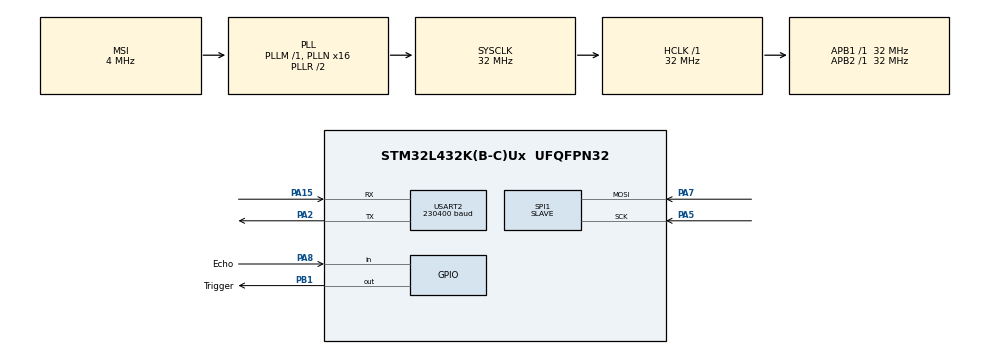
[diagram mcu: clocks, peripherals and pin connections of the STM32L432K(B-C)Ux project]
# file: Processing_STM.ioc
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Mcu.Family=STM32L4
Mcu.Name=STM32L432K(B-C)Ux
Mcu.Package=UFQFPN32
NVIC.PriorityGroup=NVIC_PRIORITYGROUP_4
PA15\ (JTDI).Mode=Asynchronous
PA15\ (JTDI).Signal=USART2_RX
PA2.Mode=Asynchronous
PA2.Signal=USART2_TX
PA5.Mode=RX_Only_Simplex_Unidirect_Slave
PA5.Signal=SPI1_SCK
PA7.Mode=RX_Only_Simplex_Unidirect_Slave
PA7.Signal=SPI1_MOSI
PA8.GPIO_Label=Echo
PA8.Signal=GPIO_Input
PB1.GPIO_Label=Trigger
PB1.Signal=GPIO_Output
ProjectManager.HeapSize=0x200
ProjectManager.StackSize=0x400
ProjectManager.TargetToolchain=STM32CubeIDE
RCC.ADCFreq_Value=32000000
RCC.AHBFreq_Value=32000000
RCC.APB1Freq_Value=32000000
RCC.APB1TimFreq_Value=32000000
RCC.APB2Freq_Value=32000000
RCC.APB2TimFreq_Value=32000000
RCC.CortexFreq_Value=32000000
RCC.HCLKFreq_Value=32000000
RCC.HSE_VALUE=8000000
RCC.HSI48_VALUE=48000000
RCC.HSI_VALUE=16000000
RCC.LSE_VALUE=32768
RCC.MSI_VALUE=4000000
RCC.PLLN=16
RCC.PLLSAI1N=16
RCC.SYSCLKFreq_VALUE=32000000
RCC.SYSCLKSource=RCC_SYSCLKSOURCE_PLLCLK
RCC.USBFreq_Value=32000000
RCC.VCOOutputFreq_Value=64000000
SPI1.DataSize=SPI_DATASIZE_12BIT
SPI1.Direction=SPI_DIRECTION_2LINES_RXONLY
SPI1.Mode=SPI_MODE_SLAVE
SPI1.VirtualType=VM_SLAVE
USART2.BaudRate=230400
USART2.VirtualMode-Asynchronous=VM_ASYNC
VP_TIM16_VS_ClockSourceINT.Mode=Enable_Timer
board=custom

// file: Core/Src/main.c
/* USER CODE BEGIN Header */
/**
  ******************************************************************************
  * @file           : main.c
  * @brief          : Main program body
  ******************************************************************************
  * @attention
  *
  * Copyright (c) 2026 STMicroelectronics.
  * All rights reserved.
  *
  * This software is licensed under terms that can be found in the LICENSE file
  * in the root directory of this software component.
  * If no LICENSE file comes with this software, it is provided AS-IS.
  *
  ******************************************************************************
  */
/* USER CODE END Header */
#include "main.h"

/* USER CODE BEGIN Includes */
#include <stdio.h>
/* USER CODE END Includes */

/* USER CODE BEGIN PD */
#define ECHO_TIMEOUT_US 8000	// max wait time 8000 microsecond
#define DISTANCE_THRESHOLD_CM 10	// 10 CM ultrasonic sensor threshold
#define STOP_DELAY_MS 1000	//	"short interval of time" which we put 1 second
#define OUTLIER_THRESHOLD 600	// range is 0-4095, 600 reject large sudden spike
/* USER CODE END PD */

SPI_HandleTypeDef hspi1;

TIM_HandleTypeDef htim16;

UART_HandleTypeDef huart2;

/* USER CODE BEGIN PV */
uint16_t rawSample = 0;	// new sample
uint16_t previousSample = 0;	// previous sample for filter
uint16_t filteredSample = 0;	// cleaned sample

uint8_t mode = 'I';	// 'I' = Idle, 'M' = Manual, 'D' = Distance Trigger
uint8_t command = 0;
uint8_t recording = 0;

uint32_t lastDetectedTime = 0;
uint32_t lastDistanceCheck = 0;

int distance_cm = -1;	// haven't measure yet

static uint8_t haveFirst = 0;	// task 4 packing (0 = no first sample stored)
static uint16_t firstSample = 0;	// store first 12 bit sample until next sample arrive
/* USER CODE END PV */

void SystemClock_Config(void);
static void MX_GPIO_Init(void);
static void MX_SPI1_Init(void);
static void MX_USART2_UART_Init(void);
static void MX_TIM16_Init(void);
/* USER CODE BEGIN PFP */
void delay_us(uint16_t us);
int get_distance_cm(void);
void send_audio_sample(void);
/* USER CODE END PFP */

int main(void)
{

  /* MCU Configuration--------------------------------------------------------*/

  /* Reset of all peripherals, Initializes the Flash interface and the Systick. */
  HAL_Init();

  /* Configure the system clock */
  SystemClock_Config();

  /* Initialize all configured peripherals */
  MX_GPIO_Init();
  MX_SPI1_Init();
  MX_USART2_UART_Init();
  MX_TIM16_Init();
  /* USER CODE BEGIN 2 */
  HAL_TIM_Base_Start(&htim16);
  __HAL_SPI_ENABLE(&hspi1);
  /* USER CODE END 2 */

  /* Infinite loop */
  /* USER CODE BEGIN WHILE */
  while (1)
  {
	  if (HAL_UART_Receive(&huart2, &command, 1, 0) == HAL_OK)	// try to receive command from Python
	  {
		  if (command == 'M')
		  {
			  mode = 'M';
			  recording = 1;
			  rawSample = 2048;	// reset filter midpoint for 12 bit
			  filteredSample = 2048;
			  previousSample = 2048;
			  haveFirst = 0;	// reset packed byte state
		  }
		  else if (command == 'D')
		  {
			  mode = 'D';
			  recording = 0;
			  lastDetectedTime = 0;
 			  lastDistanceCheck = 0;
 			  rawSample = 2048;	// reset filter midpoint for 12 bit
			  filteredSample = 2048;
			  previousSample = 2048;
			  haveFirst = 0;	// reset packed byte state
		  }
		  else if (command == 'I')
		  {
			  mode = 'I';
			  recording = 0;
			  rawSample = 2048;
			  filteredSample = 2048;
			  previousSample = 2048;
			  haveFirst = 0;
		  }
	  }
	  if (mode == 'M')
	  {
		  send_audio_sample();
	  }
	  else if (mode == 'D')
	  {
		  if (HAL_GetTick() - lastDistanceCheck >= 300)	// check distance every 300ms
		  {
			  lastDistanceCheck = HAL_GetTick();

			  distance_cm = get_distance_cm();

			  if (distance_cm > 1 && distance_cm < DISTANCE_THRESHOLD_CM)	// if distance between 1 and 10 cm
			  {
				  recording = 1;
				  lastDetectedTime = HAL_GetTick();
			  }

			  if (recording && (HAL_GetTick() - lastDetectedTime > STOP_DELAY_MS))	// if object have gone for at least 1 second
			  {
				  recording = 0;
				  haveFirst = 0;	// discard incomplete packed sample
			  }
		  }

		  if (recording)
		  {
			  send_audio_sample();
		  }
		  else
		  {
			  HAL_Delay(5);
		  }
	  }
    /* USER CODE END WHILE */

    /*USER CODE START 3 */

  }
  /* USER CODE END 3 */
}

void SystemClock_Config(void)
{
  RCC_OscInitTypeDef RCC_OscInitStruct = {0};
  RCC_ClkInitTypeDef RCC_ClkInitStruct = {0};

  /** Configure the main internal regulator output voltage
  */
  if (HAL_PWREx_ControlVoltageScaling(PWR_REGULATOR_VOLTAGE_SCALE1) != HAL_OK)
  {
    Error_Handler();
  }

  /** Initializes the RCC Oscillators according to the specified parameters
  * in the RCC_OscInitTypeDef structure.
  */
  RCC_OscInitStruct.OscillatorType = RCC_OSCILLATORTYPE_MSI;
  RCC_OscInitStruct.MSIState = RCC_MSI_ON;
  RCC_OscInitStruct.MSICalibrationValue = 0;
  RCC_OscInitStruct.MSIClockRange = RCC_MSIRANGE_6;
  RCC_OscInitStruct.PLL.PLLState = RCC_PLL_ON;
  RCC_OscInitStruct.PLL.PLLSource = RCC_PLLSOURCE_MSI;
  RCC_OscInitStruct.PLL.PLLM = 1;
  RCC_OscInitStruct.PLL.PLLN = 16;
  RCC_OscInitStruct.PLL.PLLP = RCC_PLLP_DIV7;
  RCC_OscInitStruct.PLL.PLLQ = RCC_PLLQ_DIV2;
  RCC_OscInitStruct.PLL.PLLR = RCC_PLLR_DIV2;
  if (HAL_RCC_OscConfig(&RCC_OscInitStruct) != HAL_OK)
  {
    Error_Handler();
  }

  /** Initializes the CPU, AHB and APB buses clocks
  */
  RCC_ClkInitStruct.ClockType = RCC_CLOCKTYPE_HCLK|RCC_CLOCKTYPE_SYSCLK
                              |RCC_CLOCKTYPE_PCLK1|RCC_CLOCKTYPE_PCLK2;
  RCC_ClkInitStruct.SYSCLKSource = RCC_SYSCLKSOURCE_PLLCLK;
  RCC_ClkInitStruct.AHBCLKDivider = RCC_SYSCLK_DIV1;
  RCC_ClkInitStruct.APB1CLKDivider = RCC_HCLK_DIV1;
  RCC_ClkInitStruct.APB2CLKDivider = RCC_HCLK_DIV1;

  if (HAL_RCC_ClockConfig(&RCC_ClkInitStruct, FLASH_LATENCY_1) != HAL_OK)
  {
    Error_Handler();
  }
}

static void MX_SPI1_Init(void)
{

  /* SPI1 parameter configuration*/
  hspi1.Instance = SPI1;
  hspi1.Init.Mode = SPI_MODE_SLAVE;
  hspi1.Init.Direction = SPI_DIRECTION_2LINES_RXONLY;
  hspi1.Init.DataSize = SPI_DATASIZE_12BIT;
  hspi1.Init.CLKPolarity = SPI_POLARITY_LOW;
  hspi1.Init.CLKPhase = SPI_PHASE_1EDGE;
  hspi1.Init.NSS = SPI_NSS_SOFT;
  hspi1.Init.FirstBit = SPI_FIRSTBIT_MSB;
  hspi1.Init.TIMode = SPI_TIMODE_DISABLE;
  hspi1.Init.CRCCalculation = SPI_CRCCALCULATION_DISABLE;
  hspi1.Init.CRCPolynomial = 7;
  hspi1.Init.CRCLength = SPI_CRC_LENGTH_DATASIZE;
  hspi1.Init.NSSPMode = SPI_NSS_PULSE_DISABLE;
  if (HAL_SPI_Init(&hspi1) != HAL_OK)
  {
    Error_Handler();
  }

}

static void MX_TIM16_Init(void)
{

  htim16.Instance = TIM16;
  htim16.Init.Prescaler = 0;
  htim16.Init.CounterMode = TIM_COUNTERMODE_UP;
  htim16.Init.Period = 65535;
  htim16.Init.ClockDivision = TIM_CLOCKDIVISION_DIV1;
  htim16.Init.RepetitionCounter = 0;
  htim16.Init.AutoReloadPreload = TIM_AUTORELOAD_PRELOAD_DISABLE;
  if (HAL_TIM_Base_Init(&htim16) != HAL_OK)
  {
    Error_Handler();
  }

}

static void MX_USART2_UART_Init(void)
{

  huart2.Instance = USART2;
  huart2.Init.BaudRate = 230400;
  huart2.Init.WordLength = UART_WORDLENGTH_8B;
  huart2.Init.StopBits = UART_STOPBITS_1;
  huart2.Init.Parity = UART_PARITY_NONE;
  huart2.Init.Mode = UART_MODE_TX_RX;
  huart2.Init.HwFlowCtl = UART_HWCONTROL_NONE;
  huart2.Init.OverSampling = UART_OVERSAMPLING_16;
  huart2.Init.OneBitSampling = UART_ONE_BIT_SAMPLE_DISABLE;
  huart2.AdvancedInit.AdvFeatureInit = UART_ADVFEATURE_NO_INIT;
  if (HAL_UART_Init(&huart2) != HAL_OK)
  {
    Error_Handler();
  }

}

static void MX_GPIO_Init(void)
{
  GPIO_InitTypeDef GPIO_InitStruct = {0};

  /* GPIO Ports Clock Enable */
  __HAL_RCC_GPIOA_CLK_ENABLE();
  __HAL_RCC_GPIOB_CLK_ENABLE();

  /*Configure GPIO pin Output Level */
  HAL_GPIO_WritePin(Trigger_GPIO_Port, Trigger_Pin, GPIO_PIN_RESET);

  /*Configure GPIO pin : Trigger_Pin */
  GPIO_InitStruct.Pin = Trigger_Pin;
  GPIO_InitStruct.Mode = GPIO_MODE_OUTPUT_PP;
  GPIO_InitStruct.Pull = GPIO_NOPULL;
  GPIO_InitStruct.Speed = GPIO_SPEED_FREQ_LOW;
  HAL_GPIO_Init(Trigger_GPIO_Port, &GPIO_InitStruct);

  /*Configure GPIO pin : Echo_Pin */
  GPIO_InitStruct.Pin = Echo_Pin;
  GPIO_InitStruct.Mode = GPIO_MODE_INPUT;
  GPIO_InitStruct.Pull = GPIO_NOPULL;
  HAL_GPIO_Init(Echo_GPIO_Port, &GPIO_InitStruct);

}

/* USER CODE BEGIN 4 */
void delay_us(uint16_t us) // microsecond delay
{
    __HAL_TIM_SET_COUNTER(&htim16, 0);	// set timer16 to 0

    while (__HAL_TIM_GET_COUNTER(&htim16) < us)	// block the code until time reach
    {
        // wait
    }
}

int get_distance_cm(void)
{
    uint32_t pulseWidth = 0;

    HAL_GPIO_WritePin(Trigger_GPIO_Port, Trigger_Pin, 0);	//	reset trigger pin
    delay_us(2);

    HAL_GPIO_WritePin(Trigger_GPIO_Port, Trigger_Pin, 1);	//	 send trigger pin HIGH for 10 microsecond
    delay_us(10);
    HAL_GPIO_WritePin(Trigger_GPIO_Port, Trigger_Pin, 0);

    __HAL_TIM_SET_COUNTER(&htim16, 0);	// set timer to 0
    while (HAL_GPIO_ReadPin(Echo_GPIO_Port, Echo_Pin) == 0)		// if echo pin is not HIGH
    {
        if (__HAL_TIM_GET_COUNTER(&htim16) > ECHO_TIMEOUT_US)
        {
            return 999;
        }
    }

    __HAL_TIM_SET_COUNTER(&htim16, 0);
    while (HAL_GPIO_ReadPin(Echo_GPIO_Port, Echo_Pin) == GPIO_PIN_SET)	// if echo pin went HIGH and did not went LOW
    {
        if (__HAL_TIM_GET_COUNTER(&htim16) > ECHO_TIMEOUT_US)
        {
            return 999;
        }
    }

    pulseWidth = __HAL_TIM_GET_COUNTER(&htim16);	// get the time of the echo HIGH

    return (int)(pulseWidth / 58);
}

void send_audio_sample(void)
{
    static uint8_t outlierStrike = 0;   // Count repeated outliers

    if (__HAL_SPI_GET_FLAG(&hspi1, SPI_FLAG_RXNE) == 0)	//	if no new sample arrive
    {
        return;	// return to main loop
    }

    rawSample = hspi1.Instance->DR;     // Read 16-bit SPI value
    rawSample = rawSample & 0x0FFF;     // Keep 12-bit sample only

    if (__HAL_SPI_GET_FLAG(&hspi1, SPI_FLAG_OVR) != 0)	// if SPI overrun (new sample arrive before old sample was read)
    {
        __HAL_SPI_CLEAR_OVRFLAG(&hspi1);	// clear flag so SPI can receive normally
    }

    int16_t delta = (int16_t)rawSample - (int16_t)previousSample;	// to detect sudden spike

    if (delta > OUTLIER_THRESHOLD || delta < -OUTLIER_THRESHOLD)
    {
        outlierStrike++;

        if (outlierStrike < 5)
        {
            rawSample = previousSample;	//	reject new sample and replace with previous sample
        }
        else
        {
            outlierStrike = 0;	// too many outlier, the sample maybe real signal
        }
    }
    else
    {
        outlierStrike = 0;	// normal sample
    }

    filteredSample = (rawSample + previousSample) / 2;	// moving average filter
    previousSample = rawSample;

    uint16_t sample = filteredSample & 0x0FFF;	// make sure is 12 bit

    /*
     * if send 12 bit sample as 2 byte: 44138 × 2 bytes × 10 UART bit = 882760 bits/s (baud rate overhead 921600)
     * if send 24 bit sample as 3 byte: 44138 × 1.5 bytes × 10 UART bit =  662070 bits/s
     */
    if (!haveFirst)	// pack two 12 bit samples to send
    {
        firstSample = sample;	// this is the first sample
        haveFirst = 1;	// wait for the second one
    }
    else
    {
        uint16_t secondSample = sample;	// this is the second sample

        uint8_t tx[3];	// the package space

        tx[0] = firstSample & 0xFF;	// store lower 8 bit of first sample
        tx[1] = ((firstSample >> 8) & 0x0F) | ((secondSample & 0x0F) << 4);	// store upper 4 bit of first sample and lower 4 bit of second sample
        tx[2] = (secondSample >> 4) & 0xFF;	// store upper 8 bit of second sample

        while (__HAL_UART_GET_FLAG(&huart2, UART_FLAG_TXE) == RESET)
        {
        }
        huart2.Instance->TDR = tx[0];	// send first package byte through UART

        while (__HAL_UART_GET_FLAG(&huart2, UART_FLAG_TXE) == RESET)
        {
        }
        huart2.Instance->TDR = tx[1];	// send second package byte through UART

        while (__HAL_UART_GET_FLAG(&huart2, UART_FLAG_TXE) == RESET)
        {
        }
        huart2.Instance->TDR = tx[2];	// send third package byte through UART

        haveFirst = 0;	// reset packing state
    }
}
/* USER CODE END 4 */

void Error_Handler(void)
{
  __disable_irq();
  while (1)
  {
  }
}
